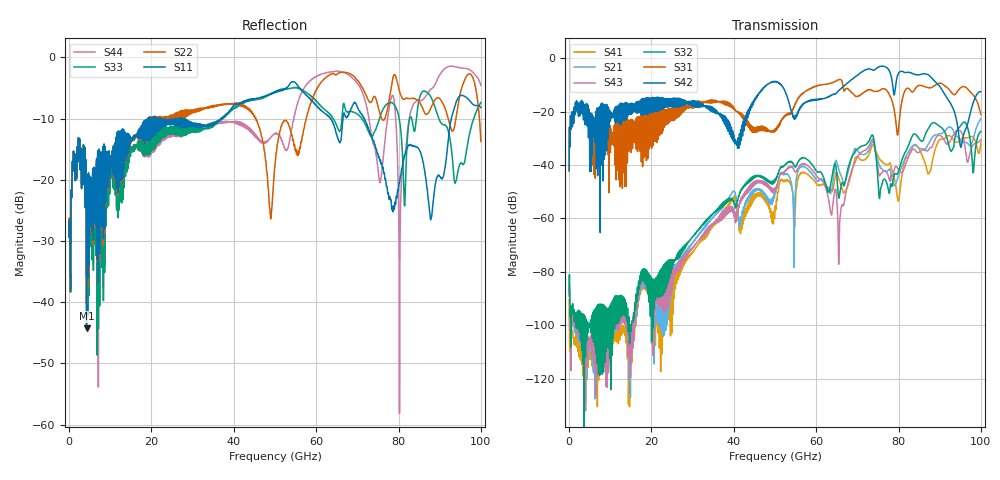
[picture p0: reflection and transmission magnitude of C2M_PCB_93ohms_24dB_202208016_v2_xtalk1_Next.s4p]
! Info: Touchstone file created by Circ.  Input file=Intel_C2M_200G_9p5in_202208016_staggered.circ
# Hz S RI R 50
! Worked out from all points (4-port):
!   10000 points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, 10 MHz to 100 GHz, reference 50 ohm
!   strongest paths, dB at 10 MHz, 25.01 GHz, 50.01 GHz, 75.01 GHz, 100 GHz:
!     S42: -42.1, -16.9, -8.6, -3.4, -12.5
!     S31: -42.1, -21.5, -26.9, -12.3, -21.1
!     S32: -86.6, -78.1, -45.4, -45.4, -27.4
!     S43: -87.8, -81.7, -49.2, -41.5, -30.5
!     S21: -88.1, -79.7, -49.9, -38.4, -22.6
!     S41: -90.4, -80.3, -55.9, -36.6, -31.5
!   lowest |S11| = -44.3 dB at 4.24 GHz (marker M1), VSWR 1.01, Z = 50.2 + j0.584 ohm
!   |S11| at or under -10 dB: start of sweep to 19.12 GHz; 27.79 GHz to 36.8 GHz (9.008 GHz wide, 27.9 % of centre); 71.72 GHz to 92.82 GHz (21.11 GHz wide, 25.7 % of centre)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
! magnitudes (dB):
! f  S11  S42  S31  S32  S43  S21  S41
! 10 MHz  -29.4  -42.1  -42.1  -86.6  -87.8  -88.1  -90.4
! 4.24 GHz  -44.3  -17.0  -18.6  -101.2  -107.4  -107.0  -111.8
! 56.79 GHz  -5.6  -17.2  -13.0  -37.3  -39.5  -40.4  -42.7
! 65.33 GHz  -13.4  -12.4  -8.1  -50.7  -64.7  -40.6  -44.3
! 80.35 GHz  -19.8  -5.0  -21.0  -40.4  -42.6  -42.3  -49.6
! 95.16 GHz  -6.2  -33.4  -11.0  -25.1  -27.4  -30.9  -30.2
! 100 GHz  -8.2  -12.5  -21.1  -27.4  -30.5  -22.6  -31.5
